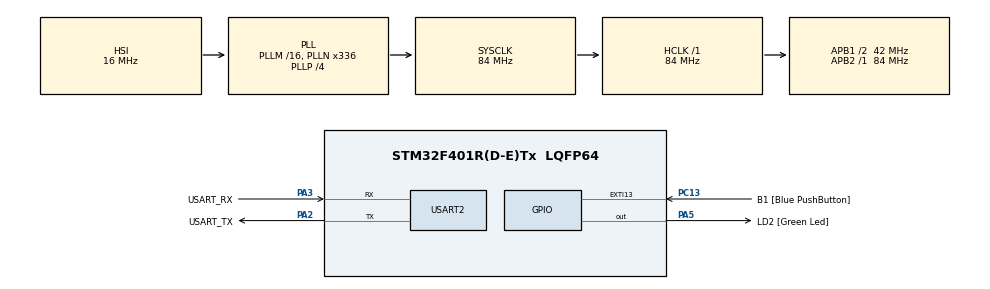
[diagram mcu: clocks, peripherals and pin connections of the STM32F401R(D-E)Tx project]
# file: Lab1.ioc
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Mcu.Family=STM32F4
Mcu.Name=STM32F401R(D-E)Tx
Mcu.Package=LQFP64
NVIC.PriorityGroup=NVIC_PRIORITYGROUP_4
PA13.GPIO_Label=TMS
PA13.Mode=Trace_Asynchronous_SW
PA13.Signal=SYS_JTMS-SWDIO
PA14.GPIO_Label=TCK
PA14.Mode=Trace_Asynchronous_SW
PA14.Signal=SYS_JTCK-SWCLK
PA2.GPIO_Label=USART_TX
PA2.GPIO_Mode=GPIO_MODE_AF_PP
PA2.GPIO_PuPd=GPIO_NOPULL
PA2.GPIO_Speed=GPIO_SPEED_FREQ_LOW
PA2.Mode=Asynchronous
PA2.Signal=USART2_TX
PA3.GPIO_Label=USART_RX
PA3.GPIO_Mode=GPIO_MODE_AF_PP
PA3.GPIO_PuPd=GPIO_NOPULL
PA3.GPIO_Speed=GPIO_SPEED_FREQ_LOW
PA3.Mode=Asynchronous
PA3.Signal=USART2_RX
PA5.GPIO_Label=LD2 [Green Led]
PA5.GPIO_Mode=GPIO_MODE_OUTPUT_PP
PA5.GPIO_PuPd=GPIO_NOPULL
PA5.GPIO_Speed=GPIO_SPEED_FREQ_LOW
PA5.Signal=GPIO_Output
PB3.GPIO_Label=SWO
PB3.Mode=Trace_Asynchronous_SW
PB3.Signal=SYS_JTDO-SWO
PC13-ANTI_TAMP.GPIO_Label=B1 [Blue PushButton]
PC13-ANTI_TAMP.GPIO_ModeDefaultEXTI=GPIO_MODE_IT_FALLING
PC13-ANTI_TAMP.GPIO_PuPd=GPIO_NOPULL
PC13-ANTI_TAMP.Signal=GPXTI13
PC14-OSC32_IN.Mode=LSE-External-Oscillator
PC14-OSC32_IN.Signal=RCC_OSC32_IN
PC15-OSC32_OUT.Mode=LSE-External-Oscillator
PC15-OSC32_OUT.Signal=RCC_OSC32_OUT
PH0\ -\ OSC_IN.Mode=HSE-External-Clock-Source
PH0\ -\ OSC_IN.Signal=RCC_OSC_IN
PH1\ -\ OSC_OUT.Mode=HSE-External-Clock-Source
PH1\ -\ OSC_OUT.Signal=RCC_OSC_OUT
ProjectManager.HeapSize=0x200
ProjectManager.StackSize=0x400
ProjectManager.TargetToolchain=STM32CubeIDE
RCC.48MHZClocksFreq_Value=48000000
RCC.AHBFreq_Value=84000000
RCC.APB1CLKDivider=RCC_HCLK_DIV2
RCC.APB1Freq_Value=42000000
RCC.APB1TimFreq_Value=84000000
RCC.APB2Freq_Value=84000000
RCC.APB2TimFreq_Value=84000000
RCC.CortexFreq_Value=84000000
RCC.HCLKFreq_Value=84000000
RCC.HSE_VALUE=8000000
RCC.HSI_VALUE=16000000
RCC.PLLN=336
RCC.PLLP=RCC_PLLP_DIV4
RCC.PLLQ=7
RCC.SYSCLKFreq_VALUE=84000000
RCC.SYSCLKSource=RCC_SYSCLKSOURCE_PLLCLK
RCC.VCOOutputFreq_Value=336000000
USART2.VirtualMode=VM_ASYNC
board=NUCLEO-F401RE

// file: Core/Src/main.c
/* USER CODE BEGIN Header */
/**
 ******************************************************************************
 * @file           : main.c
 * @brief          : Main program body
 ******************************************************************************
 * @attention
 *
 * Copyright (c) 2025 STMicroelectronics.
 * All rights reserved.
 *
 * This software is licensed under terms that can be found in the LICENSE file
 * in the root directory of this software component.
 * If no LICENSE file comes with this software, it is provided AS-IS.
 *
 ******************************************************************************
 */
/* USER CODE END Header */
#include "main.h"
#include "kernel.h"
#include <stdio.h>

/* USER CODE BEGIN PD */
// RUN_FIRST_THREAD moved to kernel.h
/* USER CODE END PD */

UART_HandleTypeDef huart2;

/* USER CODE BEGIN PV */
// stackptr moved to kernel.c
/* USER CODE END PV */

void SystemClock_Config(void);
static void MX_GPIO_Init(void);
static void MX_USART2_UART_Init(void);
/* USER CODE BEGIN PFP */
void print_success(void);
void print_error(void);
void run_first_thread(void);
/* USER CODE END PFP */

/* USER CODE BEGIN 0 */

uint32_t num = 0;
typedef struct
{
    uint32_t add_value;
    uint32_t multiply_by;
} thread_params_t;

int __io_putchar(int ch)
{
    HAL_UART_Transmit(&huart2, (uint8_t *)&ch, 1, HAL_MAX_DELAY);
    return ch;
}

void yielding_thread(void *args)
{
    uint32_t count = 0;
    while (1)
    {
        for (int i = 0; i < 2; i++)
        {
            count++;
            printf("Yielding Thread %lu: num = %lu\r\n", count, num);
        }

        for (int i = 0; i < 100000; i++)
            ;

        osYield();
    }
}
// Thread 2: preemptive only
void preemptive_thread(void *args)
{
    thread_params_t *params = (thread_params_t *)args;
    uint32_t local_counter = 0;

    printf("Preemptive thread: add_value=%lu, multiply_by=%lu\r\n",
           params->add_value, params->multiply_by);

    while (1)
    {
        local_counter += params->add_value;
        num = local_counter * params->multiply_by;
    }
}

void print_success(void)
{
    __asm("SVC #1");
}

void print_error(void)
{
    __asm("SVC #2");
}

/* USER CODE END 0 */

int main(void)
{

    /* MCU Configuration--------------------------------------------------------*/

    /* Reset of all peripherals, Initializes the Flash interface and the Systick. */
    HAL_Init();

    /* Configure the system clock */
    SystemClock_Config();

    /* Initialize all configured peripherals */
    MX_GPIO_Init();
    MX_USART2_UART_Init();
    /* USER CODE BEGIN 2 */

    // Initialize kernel
    osKernelInitialize();

    // Create struct argument
    thread_params_t preemptive_params = {
        .add_value = 7,
        .multiply_by = 3};

    // Create Thread 1: Uses osYield
    bool yielding_created = osCreateThread(yielding_thread, NULL);

    // Create Thread 2: Never yields
    bool preemptive_created = osCreateThreadWithDeadline(preemptive_thread, &preemptive_params, 100);

    if (yielding_created && preemptive_created)
    {
        printf("Starting kernel...\r\n");
        osKernelStart();
    }
    else
    {
        printf("ERROR: Failed to create threads!\r\n");
    }

    /* USER CODE END 2 */

    /* Infinite loop */
    while (1)
    {

    }
}

void SystemClock_Config(void)
{
    RCC_OscInitTypeDef RCC_OscInitStruct = {0};
    RCC_ClkInitTypeDef RCC_ClkInitStruct = {0};

    /** Configure the main internal regulator output voltage
     */
    __HAL_RCC_PWR_CLK_ENABLE();
    __HAL_PWR_VOLTAGESCALING_CONFIG(PWR_REGULATOR_VOLTAGE_SCALE2);

    /** Initializes the RCC Oscillators according to the specified parameters
     * in the RCC_OscInitTypeDef structure.
     */
    RCC_OscInitStruct.OscillatorType = RCC_OSCILLATORTYPE_HSI;
    RCC_OscInitStruct.HSIState = RCC_HSI_ON;
    RCC_OscInitStruct.HSICalibrationValue = RCC_HSICALIBRATION_DEFAULT;
    RCC_OscInitStruct.PLL.PLLState = RCC_PLL_ON;
    RCC_OscInitStruct.PLL.PLLSource = RCC_PLLSOURCE_HSI;
    RCC_OscInitStruct.PLL.PLLM = 16;
    RCC_OscInitStruct.PLL.PLLN = 336;
    RCC_OscInitStruct.PLL.PLLP = RCC_PLLP_DIV4;
    RCC_OscInitStruct.PLL.PLLQ = 7;
    if (HAL_RCC_OscConfig(&RCC_OscInitStruct) != HAL_OK)
    {
        Error_Handler();
    }

    /** Initializes the CPU, AHB and APB buses clocks
     */
    RCC_ClkInitStruct.ClockType = RCC_CLOCKTYPE_HCLK | RCC_CLOCKTYPE_SYSCLK | RCC_CLOCKTYPE_PCLK1 | RCC_CLOCKTYPE_PCLK2;
    RCC_ClkInitStruct.SYSCLKSource = RCC_SYSCLKSOURCE_PLLCLK;
    RCC_ClkInitStruct.AHBCLKDivider = RCC_SYSCLK_DIV1;
    RCC_ClkInitStruct.APB1CLKDivider = RCC_HCLK_DIV2;
    RCC_ClkInitStruct.APB2CLKDivider = RCC_HCLK_DIV1;

    if (HAL_RCC_ClockConfig(&RCC_ClkInitStruct, FLASH_LATENCY_2) != HAL_OK)
    {
        Error_Handler();
    }
}

static void MX_USART2_UART_Init(void)
{

    huart2.Instance = USART2;
    huart2.Init.BaudRate = 115200;
    huart2.Init.WordLength = UART_WORDLENGTH_8B;
    huart2.Init.StopBits = UART_STOPBITS_1;
    huart2.Init.Parity = UART_PARITY_NONE;
    huart2.Init.Mode = UART_MODE_TX_RX;
    huart2.Init.HwFlowCtl = UART_HWCONTROL_NONE;
    huart2.Init.OverSampling = UART_OVERSAMPLING_16;
    if (HAL_UART_Init(&huart2) != HAL_OK)
    {
        Error_Handler();
    }
}

static void MX_GPIO_Init(void)
{
    GPIO_InitTypeDef GPIO_InitStruct = {0};

    /* GPIO Ports Clock Enable */
    __HAL_RCC_GPIOC_CLK_ENABLE();
    __HAL_RCC_GPIOH_CLK_ENABLE();
    __HAL_RCC_GPIOA_CLK_ENABLE();
    __HAL_RCC_GPIOB_CLK_ENABLE();

    /*Configure GPIO pin Output Level */
    HAL_GPIO_WritePin(LD2_GPIO_Port, LD2_Pin, GPIO_PIN_RESET);

    /*Configure GPIO pin : B1_Pin */
    GPIO_InitStruct.Pin = B1_Pin;
    GPIO_InitStruct.Mode = GPIO_MODE_IT_FALLING;
    GPIO_InitStruct.Pull = GPIO_NOPULL;
    HAL_GPIO_Init(B1_GPIO_Port, &GPIO_InitStruct);

    /*Configure GPIO pin : LD2_Pin */
    GPIO_InitStruct.Pin = LD2_Pin;
    GPIO_InitStruct.Mode = GPIO_MODE_OUTPUT_PP;
    GPIO_InitStruct.Pull = GPIO_NOPULL;
    GPIO_InitStruct.Speed = GPIO_SPEED_FREQ_LOW;
    HAL_GPIO_Init(LD2_GPIO_Port, &GPIO_InitStruct);

}

void Error_Handler(void)
{
    __disable_irq();
    while (1)
    {
    }
}
